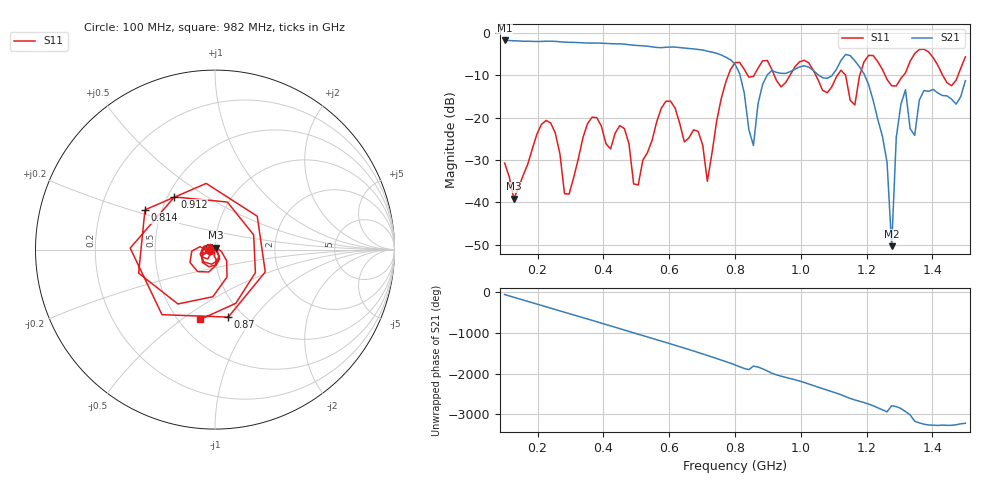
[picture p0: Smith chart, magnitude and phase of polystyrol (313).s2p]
! NanoVNA-App
! Date: 2025-09-25 15:32:19
! Start: 100MHz Stop: 1,5GHz Points: 101
! S-Parameter data: F S11 S21 S12 S22
# Hz S RI R 50
!  Frequency  S11_Real  S11_Imag  S21_Real  S21_Imag  S12_Real  S12_Imag  S22_Real  S22_Imag
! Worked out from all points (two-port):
!   101 points, 100 MHz to 1.5 GHz, reference 50 ohm
!   highest |S21| = -1.80 dB at 100 MHz (marker M1); lowest = -50.3 dB at 1.276 GHz (marker M2)
!   |S21| within 3 dB of the highest: start of sweep to 742.7 MHz
!   lowest |S11| = -39.1 dB at 128 MHz (marker M3), VSWR 1.02, Z = 50.3 + j1.06 ohm
!   |S11| at or under -10 dB: start of sweep to 779.8 MHz; 1.046 GHz to 1.112 GHz (66.01 MHz wide, 6.12 % of centre); 1.256 GHz to 1.312 GHz (56 MHz wide, 4.36 % of centre) (the widest 3 of 7)
!   S12 and S22 are empty: the file has one direction only
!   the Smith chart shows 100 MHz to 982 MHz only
!   S11 on the Smith chart (normalised r, x): 100 MHz: 0.94, -0.01; 814 MHz: 0.40, +0.22; 870 MHz: 0.85, -0.75; 912 MHz: 0.54, +0.37; 982 MHz: 0.64, -0.59
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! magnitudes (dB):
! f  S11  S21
! 100 MHz  -30.7  -1.8
! 128 MHz  -39.1  -1.9
! 212 MHz  -21.6  -2.0
! 282 MHz  -37.9  -2.2
! 338 MHz  -24.7  -2.4
! 506 MHz  -35.9  -3.0
! 576 MHz  -17.8  -3.5
! 716 MHz  -35.0  -4.3
! 800 MHz  -7.0  -7.4
! 814 MHz  -7.0  -9.6
! 856 MHz  -10.3  -26.6
! 870 MHz  -8.3  -16.7
! 912 MHz  -8.6  -8.9
! 982 MHz  -8.0  -8.6
! 1.038 GHz  -8.8  -8.8
! 1.192 GHz  -6.8  -9.7
! 1.262 GHz  -11.0  -30.5
! 1.276 GHz  -12.5  -50.3
! 1.29 GHz  -12.5  -24.7
! 1.318 GHz  -9.4  -13.4
! 1.346 GHz  -4.9  -24.2
! 1.5 GHz  -5.7  -11.3
